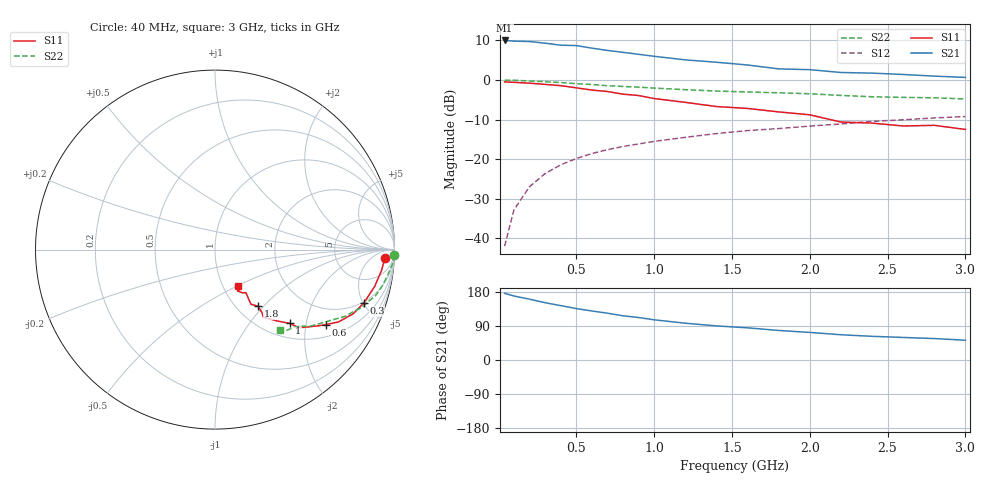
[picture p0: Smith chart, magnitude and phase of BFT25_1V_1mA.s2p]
! Filename:  BFT25D.S2P  Version:  2.0
! Philips part #: BFT25  Date: Jul 1990
! Bias condition: Vce=1V, Ic=1mA
#  MHz  S  MA  R  50
! Freq  S11  S21  S12  S22  !GUM [dB]
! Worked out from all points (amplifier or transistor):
!   21 points, 40 MHz to 3 GHz, reference 50 ohm
!   highest |S21| = 10.0 dB at 40 MHz (marker M1)
!   |S21| within 3 dB of that: start of sweep to 801 MHz
!   unconditionally stable (mu >= 1): 1.766 GHz to end of sweep
!   at 300 MHz: K = 0.29, MSG = 16.5 dB, |S12| = -23.6 dB
!   at 1 GHz: K = 0.75, MSG = 10.7 dB, |S12| = -15.5 dB
!   at 3 GHz: K = 1.15, MAG = 2.6 dB, |S12| = -9.2 dB
!   S11 on the Smith chart (normalised r, x): 40 MHz: 20, -19; 300 MHz: 1.91, -5.06; 600 MHz: 1.38, -2.62; 1 GHz: 1.29, -1.61; 1.8 GHz: 1.24, -0.93; 3 GHz: 1.17, -0.50
40  0.948 -2.8  3.158 176.0  0.008 83.6  0.998 -1.7
100  0.935 -7.2  3.098 168.9  0.023 84.2  0.993 -4.4
200  0.913 -13.0  3.061 160.5  0.045 80.5  0.972 -8.6
300  0.881 -19.7  2.917 151.2  0.066 76.6  0.952 -12.6
400  0.849 -24.9  2.753 143.5  0.085 74.1  0.93 -16.1
500  0.797 -30.4  2.722 135.8  0.102 71.9  0.899 -19.0
600  0.747 -34.0  2.526 129.3  0.118 69.3  0.878 -21.7
700  0.717 -36.3  2.364 123.6  0.132 68.0  0.848 -23.8
800  0.663 -40.7  2.237 116.7  0.145 65.7  0.829 -25.7
900  0.638 -43.0  2.112 112.1  0.156 64.7  0.814 -27.2
1000  0.584 -44.7  1.993 106.1  0.168 63.4  0.791 -28.8
1200  0.523 -49.3  1.797 97.1  0.189 61.3  0.756 -31.4
1400  0.463 -54.4  1.677 90.0  0.211 59.6  0.726 -34.1
1600  0.438 -53.3  1.548 84.9  0.23 58.4  0.707 -36.0
1800  0.396 -52.8  1.383 78.0  0.244 57.0  0.69 -37.8
2000  0.364 -56.7  1.351 72.8  0.262 55.7  0.671 -39.7
2200  0.295 -54.3  1.245 66.6  0.279 54.2  0.639 -41.7
2400  0.286 -57.4  1.222 62.5  0.301 52.5  0.615 -44.9
2600  0.263 -61.3  1.175 59.5  0.315 51.3  0.604 -47.8
2800  0.268 -60.1  1.12 56.6  0.332 50.6  0.597 -49.9
3000  0.238 -58.1  1.079 52.2  0.346 48.8  0.577 -51.3
